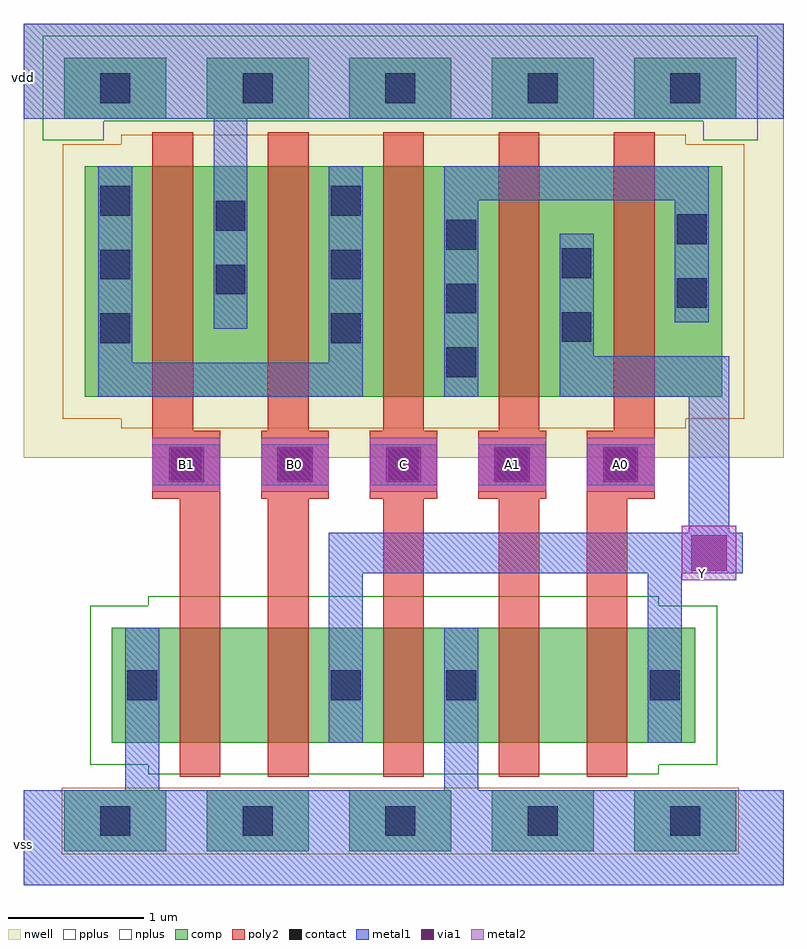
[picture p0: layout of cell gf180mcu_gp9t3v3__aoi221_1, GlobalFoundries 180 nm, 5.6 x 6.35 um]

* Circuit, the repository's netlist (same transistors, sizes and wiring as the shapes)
* NGSPICE file created from gf180mcu_gp9t3v3__aoi221_1.ext - technology: gf180mcuD

.subckt gf180mcu_gp9t3v3__aoi221_1 A0 A1 B0 B1 C Y vdd vss
X0 a_30_670# B0 vdd vdd pfet_03v3 ad=0.4675p pd=2.25u as=0.4675p ps=2.25u w=1.7u l=0.3u
X1 Y A1 a_530_670# vdd pfet_03v3 ad=0.4675p pd=2.25u as=0.4675p ps=2.25u w=1.7u l=0.3u
X2 a_250_160# B1 vss vss nfet_03v3 ad=0.10625p pd=1.1u as=0.425p ps=2.7u w=0.85u l=0.3u
X3 vss C Y vss nfet_03v3 ad=0.27625p pd=1.5u as=0.27625p ps=1.5u w=0.85u l=0.3u
X4 a_530_670# A0 Y vdd pfet_03v3 ad=0.85p pd=4.4u as=0.4675p ps=2.25u w=1.7u l=0.3u
X5 Y A0 a_740_160# vss nfet_03v3 ad=0.425p pd=2.7u as=0.10625p ps=1.1u w=0.85u l=0.3u
X6 vdd B1 a_30_670# vdd pfet_03v3 ad=0.4675p pd=2.25u as=0.85p ps=4.4u w=1.7u l=0.3u
X7 Y B0 a_250_160# vss nfet_03v3 ad=0.27625p pd=1.5u as=0.10625p ps=1.1u w=0.85u l=0.3u
X8 a_740_160# A1 vss vss nfet_03v3 ad=0.10625p pd=1.1u as=0.27625p ps=1.5u w=0.85u l=0.3u
X9 a_530_670# C a_30_670# vdd pfet_03v3 ad=0.4675p pd=2.25u as=0.4675p ps=2.25u w=1.7u l=0.3u
.ends

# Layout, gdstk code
import gdstk
lib = gdstk.Library(unit=1e-6, precision=1e-09)
def R(c, l, rs):  # rectangles x0, y0, x1, y1
    for r in rs: c.add(gdstk.rectangle(r[:2], r[2:], *l))
def A(c, l, x, y, w, h, nx, ny, dx, dy):  # array of equal rectangles
    R(c, l, [(x+i*dx, y+j*dy, x+i*dx+w, y+j*dy+h) for i in range(nx) for j in range(ny)])
nwell = (21, 0)
comp = (22, 0)
poly2 = (30, 0)
pplus = (31, 0)
nplus = (32, 0)
contact = (33, 0)
metal1 = (34, 0)
via1 = (35, 0)
metal2 = (36, 0)

gf180mcu_gp9t3v3__aoi221 = lib.new_cell('gf180mcu_gp9t3v3__aoi221_1')
R(gf180mcu_gp9t3v3__aoi221, nwell, [(-0.3,2.9,5.3,6.1)])
A(gf180mcu_gp9t3v3__aoi221, comp, 0, 0, 0.75, 0.45, 5, 2, 1.05, 5.4)
R(gf180mcu_gp9t3v3__aoi221, comp, [(0.35,0.8,4.65,1.65), (0.15,3.35,4.85,5.05)])
A(gf180mcu_gp9t3v3__aoi221, poly2, 1.5, 0.55, 0.3, 2.05, 3, 1, 0.85, 0)
A(gf180mcu_gp9t3v3__aoi221, poly2, 0.65, 2.6, 0.5, 0.5, 5, 1, 0.8, 0)
A(gf180mcu_gp9t3v3__aoi221, poly2, 0.65, 3.1, 0.3, 2.2, 5, 1, 0.85, 0)
R(gf180mcu_gp9t3v3__aoi221, poly2, [(0.85,0.55,1.15,2.6), (3.85,0.55,4.15,2.6)])
R(gf180mcu_gp9t3v3__aoi221, pplus, [(-0.02,-0.02,4.97,0.47), (0.42,3.12,4.58,3.19), (-0.01,3.19,5.01,5.21), (0.42,5.21,4.58,5.28)])
R(gf180mcu_gp9t3v3__aoi221, nplus, [(0.62,0.57,4.38,0.64), (0.19,0.64,4.81,1.81), (0.62,1.81,4.38,1.88), (-0.16,5.24,0.29,5.38), (4.71,5.24,5.11,5.38), (-0.16,5.38,5.11,6.01)])
A(gf180mcu_gp9t3v3__aoi221, contact, 0.265, 0.115, 0.22, 0.22, 5, 2, 1.05, 5.4)
A(gf180mcu_gp9t3v3__aoi221, contact, 0.79, 2.74, 0.22, 0.22, 5, 1, 0.8, 0)
A(gf180mcu_gp9t3v3__aoi221, contact, 2.815, 3.495, 0.22, 0.22, 1, 3, 0, 0.47)
A(gf180mcu_gp9t3v3__aoi221, contact, 0.265, 3.745, 0.22, 0.22, 1, 3, 0, 0.47)
A(gf180mcu_gp9t3v3__aoi221, contact, 1.965, 3.745, 0.22, 0.22, 1, 3, 0, 0.47)
R(gf180mcu_gp9t3v3__aoi221, contact, [(0.465,1.115,0.685,1.335), (1.965,1.115,2.185,1.335), (2.815,1.115,3.035,1.335), (4.315,1.115,4.535,1.335), (3.665,3.755,3.885,3.975), (4.515,4.005,4.735,4.225), (1.115,4.105,1.335,4.325), (3.665,4.225,3.885,4.445), (4.515,4.475,4.735,4.695), (1.115,4.575,1.335,4.795)])
A(gf180mcu_gp9t3v3__aoi221, metal1, 0.65, 2.7, 0.5, 0.3, 5, 1, 0.8, 0)
R(gf180mcu_gp9t3v3__aoi221, metal1, [(-0.3,-0.25,5.3,0.45), (0.45,0.45,0.7,1.65), (2.8,0.45,3.05,1.65), (1.95,0.8,2.2,2.05), (4.3,0.8,4.55,2.05), (1.95,2.05,5,2.35), (4.6,2.35,4.9,3.35), (0.25,3.35,2.2,3.6), (2.8,3.35,3.05,4.8), (3.65,3.35,4.9,3.65), (0.25,3.6,0.5,5.05), (1.95,3.6,2.2,5.05), (3.65,3.65,3.9,4.55), (1.1,3.85,1.35,5.4), (4.5,3.9,4.75,4.8), (2.8,4.8,4.75,5.05), (-0.3,5.4,5.3,6.1)])
A(gf180mcu_gp9t3v3__aoi221, via1, 0.77, 2.72, 0.26, 0.26, 5, 1, 0.8, 0)
R(gf180mcu_gp9t3v3__aoi221, via1, [(4.62,2.07,4.88,2.33)])
A(gf180mcu_gp9t3v3__aoi221, metal2, 0.65, 2.65, 0.5, 0.4, 5, 1, 0.8, 0)
R(gf180mcu_gp9t3v3__aoi221, metal2, [(4.55,2,4.95,2.4)])
gf180mcu_gp9t3v3__aoi221.add(gdstk.Label('A0', (4.1,2.85), layer=30, texttype=10))
gf180mcu_gp9t3v3__aoi221.add(gdstk.Label('A1', (3.3,2.85), layer=30, texttype=10))
gf180mcu_gp9t3v3__aoi221.add(gdstk.Label('B0', (1.7,2.85), layer=30, texttype=10))
gf180mcu_gp9t3v3__aoi221.add(gdstk.Label('B1', (0.9,2.85), layer=30, texttype=10))
gf180mcu_gp9t3v3__aoi221.add(gdstk.Label('C', (2.5,2.85), layer=30, texttype=10))
gf180mcu_gp9t3v3__aoi221.add(gdstk.Label('Y', (4.7,2.05), layer=34, texttype=10))
gf180mcu_gp9t3v3__aoi221.add(gdstk.Label('vdd', (-0.3,5.7), layer=34, texttype=10))
gf180mcu_gp9t3v3__aoi221.add(gdstk.Label('vss', (-0.3,0.05), layer=34, texttype=10))

lib.write_gds('gf180mcu_gp9t3v3__aoi221_1.gds')
